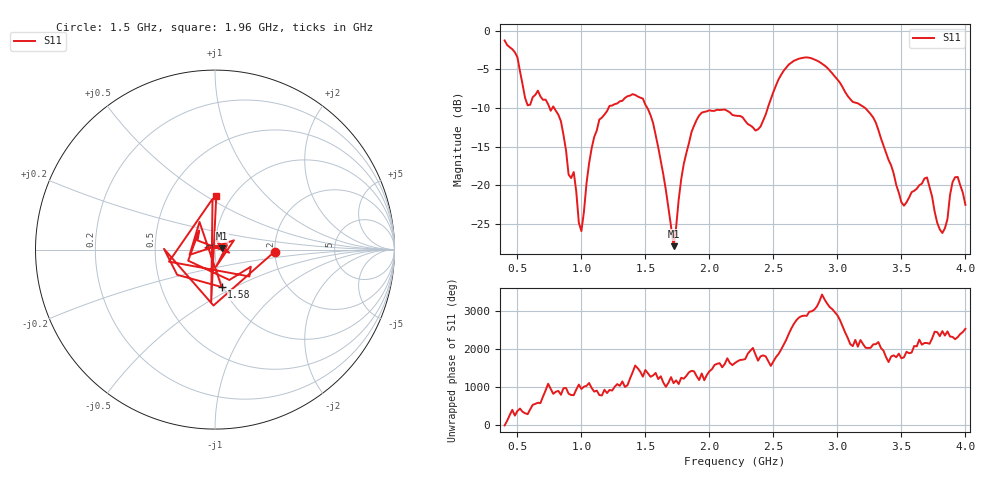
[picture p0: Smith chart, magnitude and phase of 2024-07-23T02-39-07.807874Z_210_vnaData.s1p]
!Created with skrf (http://scikit-rf.org).
# Hz S RI R 50.0
!freq ReS11 ImS11
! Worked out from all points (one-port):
!   181 points, 400 MHz to 4 GHz, reference 50 ohm
!   lowest |S11| = -27.9 dB at 1.72 GHz (marker M1), VSWR 1.08, Z = 54.1 + j0.813 ohm
!   |S11| at or under -10 dB: 787.4 MHz to 1.212 GHz (424.4 MHz wide, 42.5 % of centre); 1.515 GHz to 2.456 GHz (940.4 MHz wide, 47.4 % of centre); 3.217 GHz to end of sweep (the widest 3 of 4)
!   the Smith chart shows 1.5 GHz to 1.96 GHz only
!   S11 on the Smith chart (normalised r, x): 1.5 GHz: 1.99, -0.05; 1.58 GHz: 0.98, -0.43; 1.96 GHz: 0.85, +0.56
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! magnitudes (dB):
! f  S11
! 400 MHz  -1.3
! 500 MHz  -3.4
! 580 MHz  -9.6
! 660 MHz  -7.8
! 860 MHz  -13.5
! 900 MHz  -18.6
! 940 MHz  -18.3
! 1 GHz  -25.9
! 1.06 GHz  -17.2
! 1.14 GHz  -11.5
! 1.3 GHz  -9.1
! 1.5 GHz  -9.6
! 1.58 GHz  -13.5
! 1.72 GHz  -27.9
! 1.76 GHz  -21.9
! 1.86 GHz  -13.1
! 1.96 GHz  -10.5
! 2.2 GHz  -11.0
! 2.38 GHz  -12.8
! 2.66 GHz  -3.9
! 3.1 GHz  -8.8
! 3.28 GHz  -11.2
! 3.5 GHz  -22.2
! 3.56 GHz  -21.6
! 3.7 GHz  -19.0
! 3.82 GHz  -26.2
! 3.92 GHz  -18.9
! 4 GHz  -22.5
